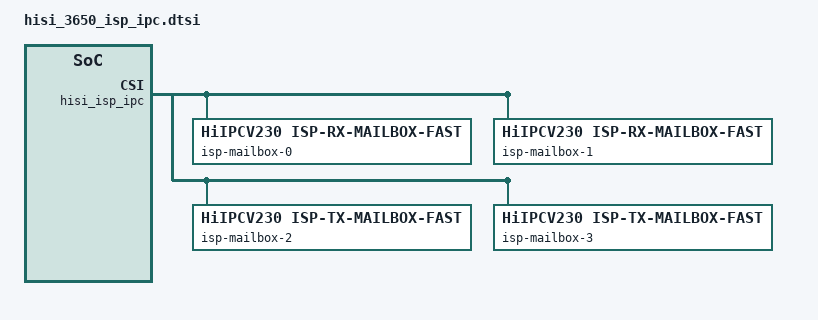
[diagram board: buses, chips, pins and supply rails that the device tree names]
/*
 * Hisilicon Ltd. HI3650 SoC
 *
 * Copyright (C) 2014- Hisilicon Ltd.
 *
 * This program is free software; you can redistribute it and/or modify
 * it under the terms of the GNU General Public License version 2 as
 * publishhed by the Free Software Foundation.
 */

 /{
	hisi_isp_ipc: ipc@e8582000 {
		#address-cells = <2>;
		#size-cells = <2>;
		compatible = "hisilicon,HiIPCV230";
		reg = <0x0 0xe8582000 0x0 0x1000>;
		interrupts = <0 271 4>, <0 271 4>;
		unlock_key = <0x1ACCE551>;
		capability = <8>;
		status = "ok";

		/*
		 * "func"
		 * <mbox_type, is_src_mbox, is_des_mbox>;
		 *
		 * "remote processor type"
		 * <0: A53>;
		 * <1: ISP_A7>;
		 * <2: LPM3>;
		 *
		 * "used"
		 * <1: using   0: no-use>
		 *
		 * "timeout"
		 * <300> means TIMEOUT time is 300ms
		 * timeout must be multiple of 5ms
		 *
		 * don't forget to increase the number of mailbox
		 * when add or decrease a mailbox channel
		 */
		mailboxes = <4>;
		isp-mailbox-0 {
			compatible = "HiIPCV230,isp-rx-mailbox-fast";
			func = <1 0 1>;
			interrupts = <0 269 4>;
			src_bit = <1>;
			des_bit = <0>;
			index = <100>;
			used = <1>;
			timeout = <300>;
		};

		isp-mailbox-1 {
			compatible = "HiIPCV230,isp-rx-mailbox-fast";
			func = <1 0 1>;
			interrupts = <0 270 4>;
			src_bit = <1>;
			des_bit = <0>;
			index = <101>;
			used = <1>;
			timeout = <300>;
		};

		isp-mailbox-2 {
			compatible = "HiIPCV230,isp-tx-mailbox-fast";
			func = <1 1 0>;
			src_bit = <0>;
			des_bit = <1>;
			index = <102>;
			used = <1>;
			timeout = <300>;
		};

		isp-mailbox-3 {
			compatible = "HiIPCV230,isp-tx-mailbox-fast";
			func = <1 1 0>;
			src_bit = <0>;
			des_bit = <1>;
			index = <103>;
			used = <1>;
			timeout = <300>;
		};
	};
 };
